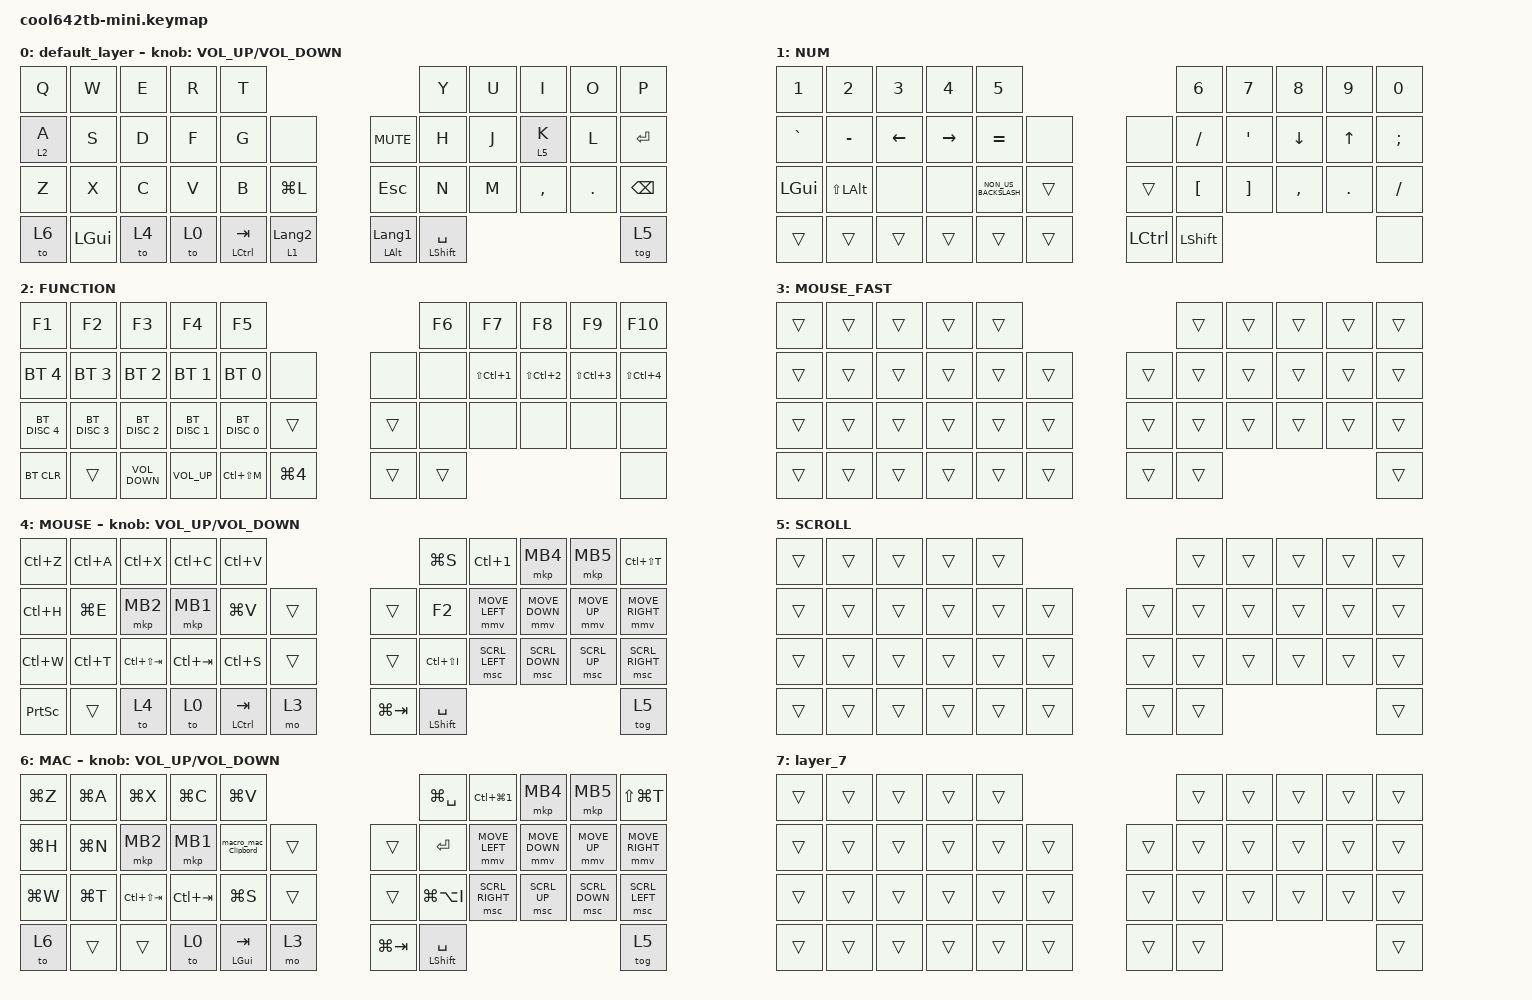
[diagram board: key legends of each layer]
#include <input/processors.dtsi>
#include <behaviors.dtsi>
#include <dt-bindings/zmk/bt.h>
#include <dt-bindings/zmk/keys.h>
#include <dt-bindings/zmk/pointing.h>

#define MOUSE_FAST 3
#define MOUSE 4
#define SCROLL 5
#define NUM 6
#define ZMK_POINTING_DEFAULT_MOVE_VAL 1200
#define ZMK_POINTING_DEFAULT_SCRL_VAL 80

&mt {
    flavor = "balanced";
    quick-tap-ms = <0>;
};

&mmv {
    time-to-max-speed-ms = <200>;
    acceleration-exponent = <1>;
};

&mmv_input_listener {
    fast {
        layers = <3>;
        input-processors = <&zip_xy_scaler 3 1>;
    };
};

/ {
    combos { compatible = "zmk,combos"; };

    behaviors {
        encoder_msc_down_up: encoder_msc_down_up {
            compatible = "zmk,behavior-sensor-rotate";
            label = "ENCODER_MSC_DOWN_UP";
            #sensor-binding-cells = <0>;
            bindings = <&msc SCRL_UP>, <&msc SCRL_DOWN>;

            tap-ms = <20>;
        };
    };

    macros {
        macro_mac_Clipbord: macro_mac_Clipbord {
            compatible = "zmk,behavior-macro";
            #binding-cells = <0>;
            bindings = <&kp LG(SPACE) &kp LG(NUMBER_4)>;
            label = "MACRO_MAC_CLIPBORD";
        };
    };

    keymap {
        compatible = "zmk,keymap";

        default_layer {
            bindings = <
&kp Q    &kp W         &kp E  &kp R  &kp T                                                                &kp Y                 &kp U  &kp I      &kp O    &kp P
&lt 2 A  &kp S         &kp D  &kp F  &kp G                 &none                 &kp C_MUTE               &kp H                 &kp J  &lt 5 K    &kp L    &kp ENTER
&kp Z    &kp X         &kp C  &kp V  &kp B                 &kp LG(L)             &kp ESC                  &kp N                 &kp M  &kp COMMA  &kp DOT  &kp BACKSPACE
&to 6    &kp LEFT_GUI  &to 4  &to 0  &mt LEFT_CONTROL TAB  &lt 1 LANGUAGE_2      &mt LEFT_ALT LANGUAGE_1  &mt LEFT_SHIFT SPACE                             &tog 5
            >;

            sensor-bindings = <&inc_dec_kp C_VOLUME_UP C_VOLUME_DOWN>;
        };

        NUM {
            bindings = <
&kp N1        &kp N2            &kp N3          &kp N4           &kp N5                                              &kp N6            &kp N7             &kp N8     &kp N9        &kp N0
&kp GRAVE     &kp MINUS         &kp LEFT_ARROW  &kp RIGHT_ARROW  &kp EQUAL             &none       &none             &kp SLASH         &kp SQT            &kp DOWN   &kp UP_ARROW  &kp SEMICOLON
&kp LEFT_GUI  &kp LS(LEFT_ALT)  &none           &none            &kp NON_US_BACKSLASH  &trans      &trans            &kp LEFT_BRACKET  &kp RIGHT_BRACKET  &kp COMMA  &kp PERIOD    &kp SLASH
&trans        &trans            &trans          &trans           &trans                &trans      &kp LEFT_CONTROL  &kp LEFT_SHIFT                                                &none
            >;
        };

        FUNCTION {
            bindings = <
&kp F1         &kp F2         &kp F3             &kp F4           &kp F5                                       &kp F6  &kp F7                &kp F8                &kp F9                &kp F10
&bt BT_SEL 4   &bt BT_SEL 3   &bt BT_SEL 2       &bt BT_SEL 1     &bt BT_SEL 0   &none                 &none   &none   &kp LS(LC(NUMBER_1))  &kp LS(LC(NUMBER_2))  &kp LS(LC(NUMBER_3))  &kp LS(LC(NUMBER_4))
&bt BT_DISC 4  &bt BT_DISC 3  &bt BT_DISC 2      &bt BT_DISC 1    &bt BT_DISC 0  &trans                &trans  &none   &none                 &none                 &none                 &none
&bt BT_CLR     &trans         &kp C_VOLUME_DOWN  &kp C_VOLUME_UP  &kp LC(LS(M))  &kp LG(NUMBER_4)      &trans  &trans                                                                    &none
            >;
        };

        MOUSE_FAST {
            bindings = <
&trans  &trans  &trans  &trans  &trans                      &trans  &trans  &trans  &trans  &trans
&trans  &trans  &trans  &trans  &trans  &trans      &trans  &trans  &trans  &trans  &trans  &trans
&trans  &trans  &trans  &trans  &trans  &trans      &trans  &trans  &trans  &trans  &trans  &trans
&trans  &trans  &trans  &trans  &trans  &trans      &trans  &trans                          &trans
            >;
        };

        MOUSE {
            bindings = <
&kp LC(Z)        &kp LC(A)  &kp LC(X)        &kp LC(C)    &kp LC(V)                                      &kp LG(S)             &kp LC(NUMBER_1)  &mkp MB4        &mkp MB5      &kp LC(LS(T))
&kp LC(H)        &kp LG(E)  &mkp MB2         &mkp MB1     &kp LG(V)             &trans      &trans       &kp F2                &mmv MOVE_LEFT    &mmv MOVE_DOWN  &mmv MOVE_UP  &mmv MOVE_RIGHT
&kp LC(W)        &kp LC(T)  &kp LC(LS(TAB))  &kp LC(TAB)  &kp LC(S)             &trans      &trans       &kp LC(LS(I))         &msc SCRL_LEFT    &msc SCRL_DOWN  &msc SCRL_UP  &msc SCRL_RIGHT
&kp PRINTSCREEN  &trans     &to 4            &to 0        &mt LEFT_CONTROL TAB  &mo 3       &kp LG(TAB)  &mt LEFT_SHIFT SPACE                                                  &tog 5
            >;

            sensor-bindings = <&inc_dec_kp C_VOLUME_UP C_VOLUME_DOWN>;
        };

        SCROLL {
            bindings = <
&trans  &trans  &trans  &trans  &trans                      &trans  &trans  &trans  &trans  &trans
&trans  &trans  &trans  &trans  &trans  &trans      &trans  &trans  &trans  &trans  &trans  &trans
&trans  &trans  &trans  &trans  &trans  &trans      &trans  &trans  &trans  &trans  &trans  &trans
&trans  &trans  &trans  &trans  &trans  &trans      &trans  &trans                          &trans
            >;
        };

        MAC {
            bindings = <
&kp LG(Z)  &kp LG(A)  &kp LG(X)        &kp LG(C)    &kp LG(V)                                     &kp LG(SPACE)         &kp LC(LG(NUMBER_1))  &mkp MB4        &mkp MB5        &kp LS(LG(T))
&kp LG(H)  &kp LG(N)  &mkp MB2         &mkp MB1     &macro_mac_Clipbord  &trans      &trans       &kp RETURN            &mmv MOVE_LEFT        &mmv MOVE_DOWN  &mmv MOVE_UP    &mmv MOVE_RIGHT
&kp LG(W)  &kp LG(T)  &kp LC(LS(TAB))  &kp LC(TAB)  &kp LG(S)            &trans      &trans       &kp LG(LA(I))         &msc SCRL_RIGHT       &msc SCRL_UP    &msc SCRL_DOWN  &msc SCRL_LEFT
&to 6      &trans     &trans           &to 0        &mt LEFT_GUI TAB     &mo 3       &kp LG(TAB)  &mt LEFT_SHIFT SPACE                                                        &tog 5
            >;

            sensor-bindings = <&inc_dec_kp C_VOLUME_UP C_VOLUME_DOWN>;
        };

        layer_7 {
            bindings = <
&trans  &trans  &trans  &trans  &trans                      &trans  &trans  &trans  &trans  &trans
&trans  &trans  &trans  &trans  &trans  &trans      &trans  &trans  &trans  &trans  &trans  &trans
&trans  &trans  &trans  &trans  &trans  &trans      &trans  &trans  &trans  &trans  &trans  &trans
&trans  &trans  &trans  &trans  &trans  &trans      &trans  &trans                          &trans
            >;
        };
    };
};
